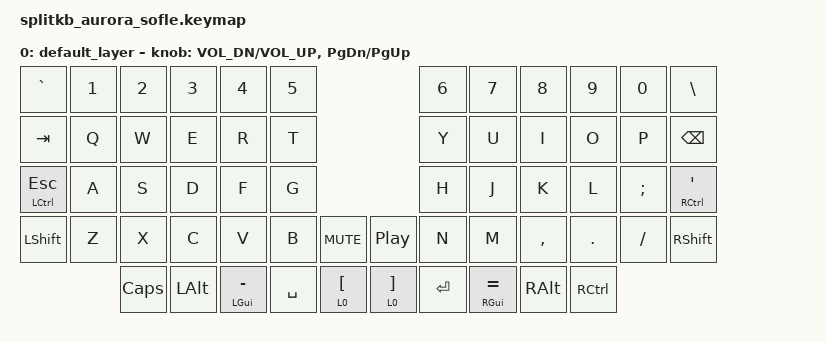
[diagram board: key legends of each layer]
#include <behaviors.dtsi>
#include <dt-bindings/zmk/keys.h>

/ {
    keymap {
        compatible = "zmk,keymap";

        default_layer {
            // ------------------------------------------------------------------------------------------------------------
            // |  `    |  1  |  2  |  3   |  4   |  5   |                   |  6   |  7    |  8    |  9   |   0   |   \   |
            // |  TAB  |  Q  |  W  |  E   |  R   |  T   |                   |  Y   |  U    |  I    |  O   |   P   | BKSPC |
            // | C/ESC |  A  |  S  |  D   |  F   |  G   |                   |  H   |  J    |  K    |  L   |   ;   |  C/'  |
            // | SHIFT |  Z  |  X  |  C   |  V   |  B   |  MUTE  |  | PLAY  |  N   |  M    |  ,    |  .   |   /   | SHIFT |
            //               | CAPS| ALT  | GUI/-| SPACE|LOWER/[ |  |RAISE/]| ENTER|  GUI/=|  ALT  | CTRL |

            bindings = <
&kp GRAVE      &kp N1  &kp N2    &kp N3    &kp N4          &kp N5                               &kp N6   &kp N7          &kp N8     &kp N9     &kp N0    &kp BSLH
&kp TAB        &kp Q   &kp W     &kp E     &kp R           &kp T                                &kp Y    &kp U           &kp I      &kp O      &kp P     &kp BSPC
&mt LCTRL ESC  &kp A   &kp S     &kp D     &kp F           &kp G                                &kp H    &kp J           &kp K      &kp L      &kp SEMI  &mt RCTRL SQT
&kp LSHFT      &kp Z   &kp X     &kp C     &kp V           &kp B      &kp C_MUTE    &kp C_PP    &kp N    &kp M           &kp COMMA  &kp DOT    &kp FSLH  &kp RSHFT
                       &kp CLCK  &kp LALT  &mt LGUI MINUS  &kp SPACE  &lt 0 LBKT    &lt 0 RBKT  &kp RET  &mt RGUI EQUAL  &kp RALT   &kp RCTRL
            >;

            sensor-bindings = <&inc_dec_kp C_VOL_DN C_VOL_UP &inc_dec_kp PG_DN PG_UP>;
        };
    };
};
